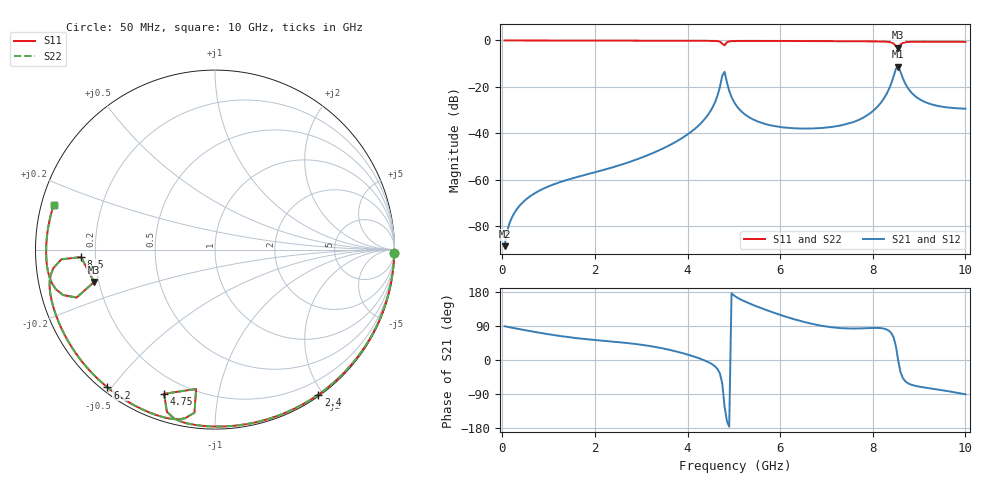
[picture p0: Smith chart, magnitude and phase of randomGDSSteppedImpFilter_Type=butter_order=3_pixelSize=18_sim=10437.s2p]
! freq	dB(S11)	phase(S11)	dB(S12)	phase(S12)
!  dB(S21)	phase(S21)	dB(S22)	phase(S22)
!S-par simulation data
#  GHz  S  DB  R 50
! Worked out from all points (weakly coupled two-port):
!   200 points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, 50 MHz to 10 GHz, reference 50 ohm
!   highest |S21| = -11.28 dB at 8.55 GHz (marker M1); lowest = -88.6 dB at 50 MHz (marker M2)
!   lowest |S11| = -3.1 dB at 8.55 GHz (marker M3), VSWR 5.61, Z = 9.07 - j6.37 ohm
!   |S11| at or under -10 dB: nowhere
!   |S22| runs from -3.1 to 0.0 dB; largest |S21 - S12| = 0
!   S11 on the Smith chart (normalised r, x): 50 MHz: 2, -95; 2.4 GHz: 0.02, -1.94; 4.75 GHz: 0.12, -0.70; 6.2 GHz: 0.02, -0.49; 8.5 GHz: 0.14, -0.03; 10 GHz: 0.04, +0.14
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0.05  -0.00 -1.2  -88.60 89.0  -88.60 89.0  -0.00 -1.2
0.65  -0.02 -15.2  -66.45 75.1  -66.45 75.1  -0.02 -15.2
1.75  -0.05 -40.2  -58.09 55.7  -58.09 55.7  -0.05 -40.2
2.4  -0.07 -54.5  -54.56 48.3  -54.56 48.3  -0.07 -54.5
3.4  -0.10 -75.6  -47.19 32.2  -47.19 32.2  -0.10 -75.6
4.4  -0.15 -96.5  -33.14 -2.9  -33.14 -2.9  -0.15 -96.5
4.6  -0.22 -101.9  -26.32 -17.5  -26.32 -17.5  -0.22 -101.9
4.75  -1.39 -109.4  -15.14 -62.4  -15.14 -62.4  -1.39 -109.4
4.8  -2.12 -97.7  -13.49 -122.8  -13.49 -122.8  -2.12 -97.7
4.9  -0.40 -100.1  -21.70 -176.0  -21.70 -176.0  -0.40 -100.1
5.05  -0.22 -105.2  -27.94 166.4  -27.94 166.4  -0.22 -105.2
5.5  -0.19 -114.9  -34.76 141.1  -34.76 141.1  -0.19 -114.9
6.2  -0.23 -128.0  -37.70 111.3  -37.70 111.3  -0.23 -128.0
6.7  -0.26 -137.0  -37.91 95.1  -37.91 95.1  -0.26 -137.0
7.8  -0.37 -157.4  -33.19 83.7  -33.19 83.7  -0.37 -157.4
8.15  -0.44 -164.9  -27.44 84.4  -27.44 84.4  -0.44 -164.9
8.35  -0.66 -171.1  -20.92 77.1  -20.92 77.1  -0.66 -171.1
8.5  -2.53 -176.8  -12.25 36.0  -12.25 36.0  -2.52 -176.8
8.55  -3.13 -165.0  -11.28 -2.2  -11.28 -2.2  -3.13 -165.0
8.75  -0.67 -168.0  -20.25 -60.6  -20.25 -60.6  -0.67 -167.9
9  -0.53 -175.0  -25.19 -70.3  -25.19 -70.3  -0.53 -175.0
10  -0.61 164.5  -29.38 -90.5  -29.38 -90.5  -0.61 164.5
